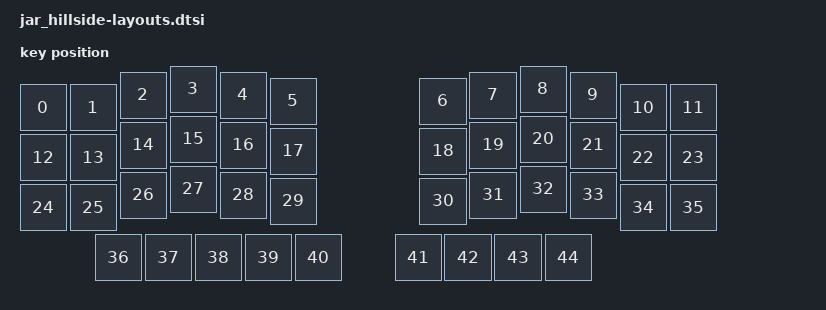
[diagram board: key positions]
// Physisches Layout fuer HillSideView 46 (fuer ZMK Studio).
// Reihenfolge MUSS mit der map in jar_hillside.dtsi und den bindings im Keymap
// uebereinstimmen: Zeile 0 (12) -> Zeile 1 (12) -> Zeile 2 (12) -> Daumen (5 + 4).
// Fingerbereich = 6-Spalten-Corne-Geometrie (spaltenversetzt), Daumen flach.

#include <physical_layouts.dtsi>

/ {
    default_layout: default_layout {
        compatible = "zmk,physical-layout";
        display-name = "HillSideView 46";
        transform = <&default_transform>;
        kscan = <&kscan>;

        keys  //                     w   h    x    y   rot   rx   ry
            // Zeile 0 - links C0..C5
            = <&key_physical_attrs 100 100    0   37     0    0    0>
            , <&key_physical_attrs 100 100  100   37     0    0    0>
            , <&key_physical_attrs 100 100  200   12     0    0    0>
            , <&key_physical_attrs 100 100  300    0     0    0    0>
            , <&key_physical_attrs 100 100  400   12     0    0    0>
            , <&key_physical_attrs 100 100  500   24     0    0    0>
            // Zeile 0 - rechts C5..C0
            , <&key_physical_attrs 100 100  800   24     0    0    0>
            , <&key_physical_attrs 100 100  900   12     0    0    0>
            , <&key_physical_attrs 100 100 1000    0     0    0    0>
            , <&key_physical_attrs 100 100 1100   12     0    0    0>
            , <&key_physical_attrs 100 100 1200   37     0    0    0>
            , <&key_physical_attrs 100 100 1300   37     0    0    0>
            // Zeile 1 - links C0..C5
            , <&key_physical_attrs 100 100    0  137     0    0    0>
            , <&key_physical_attrs 100 100  100  137     0    0    0>
            , <&key_physical_attrs 100 100  200  112     0    0    0>
            , <&key_physical_attrs 100 100  300  100     0    0    0>
            , <&key_physical_attrs 100 100  400  112     0    0    0>
            , <&key_physical_attrs 100 100  500  124     0    0    0>
            // Zeile 1 - rechts C5..C0
            , <&key_physical_attrs 100 100  800  124     0    0    0>
            , <&key_physical_attrs 100 100  900  112     0    0    0>
            , <&key_physical_attrs 100 100 1000  100     0    0    0>
            , <&key_physical_attrs 100 100 1100  112     0    0    0>
            , <&key_physical_attrs 100 100 1200  137     0    0    0>
            , <&key_physical_attrs 100 100 1300  137     0    0    0>
            // Zeile 2 - links C0..C5
            , <&key_physical_attrs 100 100    0  237     0    0    0>
            , <&key_physical_attrs 100 100  100  237     0    0    0>
            , <&key_physical_attrs 100 100  200  212     0    0    0>
            , <&key_physical_attrs 100 100  300  200     0    0    0>
            , <&key_physical_attrs 100 100  400  212     0    0    0>
            , <&key_physical_attrs 100 100  500  224     0    0    0>
            // Zeile 2 - rechts C5..C0
            , <&key_physical_attrs 100 100  800  224     0    0    0>
            , <&key_physical_attrs 100 100  900  212     0    0    0>
            , <&key_physical_attrs 100 100 1000  200     0    0    0>
            , <&key_physical_attrs 100 100 1100  212     0    0    0>
            , <&key_physical_attrs 100 100 1200  237     0    0    0>
            , <&key_physical_attrs 100 100 1300  237     0    0    0>
            // Daumen links C1..C5 (aussen -> innen)
            , <&key_physical_attrs 100 100  150  337     0    0    0>
            , <&key_physical_attrs 100 100  250  337     0    0    0>
            , <&key_physical_attrs 100 100  350  337     0    0    0>
            , <&key_physical_attrs 100 100  450  337     0    0    0>
            , <&key_physical_attrs 100 100  550  337     0    0    0>
            // Daumen rechts C4..C1 (innen -> aussen); C5 = Touchpad (kein Switch)
            , <&key_physical_attrs 100 100  750  337     0    0    0>
            , <&key_physical_attrs 100 100  850  337     0    0    0>
            , <&key_physical_attrs 100 100  950  337     0    0    0>
            , <&key_physical_attrs 100 100 1050  337     0    0    0>
            ;
    };
};
